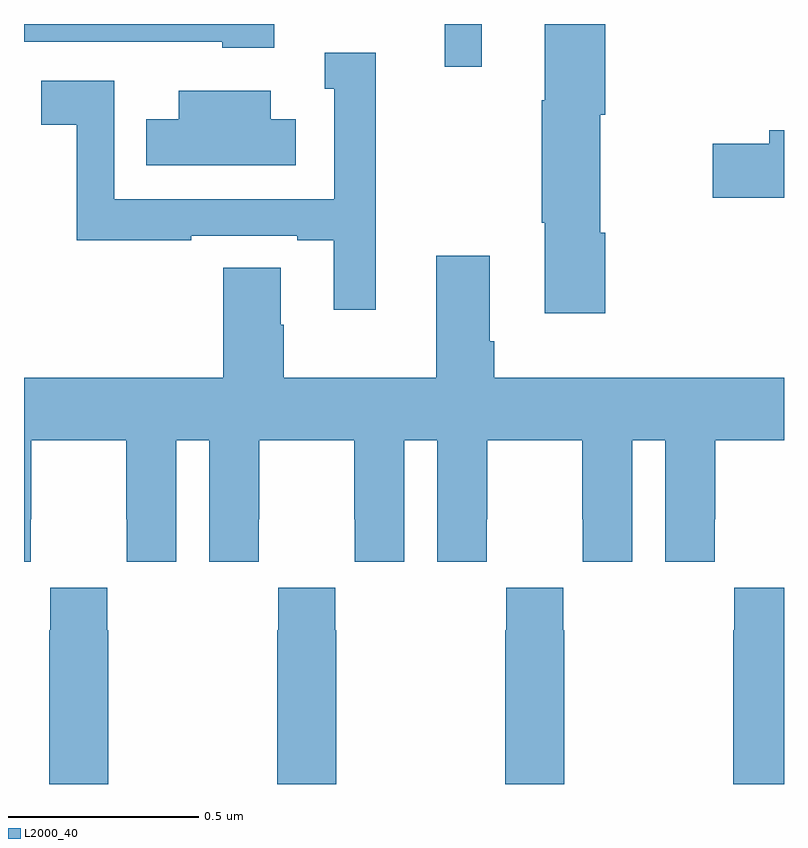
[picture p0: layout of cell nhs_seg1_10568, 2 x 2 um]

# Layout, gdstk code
import gdstk
lib = gdstk.Library(unit=1e-6, precision=1e-09)
def R(c, l, rs):  # rectangles x0, y0, x1, y1
    for r in rs: c.add(gdstk.rectangle(r[:2], r[2:], *l))
def P(c, l, *ps):  # polygons
    for p in ps: c.add(gdstk.Polygon(p, *l))
L2000_40 = (2000, 40)

nhs_seg1_10568 = lib.new_cell('nhs_seg1_10568')
R(nhs_seg1_10568, L2000_40, [(244.107,514.086,244.204,514.199)])
P(nhs_seg1_10568, L2000_40, [(243.658,514.199),(243,514.199),(243,514.152),(243.522,514.152),(243.522,514.136),(243.658,514.136)],
  [(244.529,513.65),(244.516,513.65),(244.516,513.96),(244.529,513.96),(244.529,514.199),(244.37,514.199),(244.37,513.998),(244.363,513.998),(244.363,513.676),(244.37,513.676),(244.37,513.438),(244.529,513.438)],
  [(243.925,514.123),(243.791,514.123),(243.791,514.029),(243.816,514.029),(243.816,513.738),(243.237,513.738),(243.237,514.05),(243.045,514.05),(243.045,513.934),(243.139,513.934),(243.139,513.63),(243.44,513.63),(243.44,513.642),(243.719,513.642),(243.719,513.63),(243.815,513.63),(243.815,513.447),(243.925,513.447)],
  [(243.715,513.949),(243.649,513.949),(243.649,514.024),(243.407,514.024),(243.407,513.949),(243.322,513.949),(243.322,513.827),(243.715,513.827)],
  [(245,513.92),(244.961,513.92),(244.961,513.884),(244.812,513.884),(244.812,513.742),(245,513.742)],
  [(243.018,512.896),(243.019,512.896),(243.019,513.104),(243.269,513.104),(243.269,512.896),(243.27,512.896),(243.27,512.784),(243.4,512.784),(243.4,513.104),(243.488,513.104),(243.488,512.784),(243.618,512.784),(243.618,512.896),(243.619,512.896),(243.619,513.104),(243.869,513.104),(243.869,512.896),(243.87,512.896),(243.87,512.784),(244,512.784),(244,513.104),(244.088,513.104),(244.088,512.784),(244.218,512.784),(244.218,512.896),(244.219,512.896),(244.219,513.104),(244.469,513.104),(244.469,512.896),(244.47,512.896),(244.47,512.784),(244.6,512.784),(244.6,513.104),(244.688,513.104),(244.688,512.784),(244.818,512.784),(244.818,512.896),(244.819,512.896),(244.819,513.104),(245,513.104),(245,513.268),(244.238,513.268),(244.238,513.364),(244.225,513.364),(244.225,513.589),(244.085,513.589),(244.085,513.268),(243.684,513.268),(243.684,513.407),(243.676,513.407),(243.676,513.557),(243.524,513.557),(243.524,513.268),(243,513.268),(243,512.784),(243.018,512.784)],
  [(245,512.716),(244.869,512.716),(244.869,512.603),(244.867,512.603),(244.867,512.199),(245,512.199)],
  [(244.422,512.603),(244.419,512.603),(244.419,512.716),(244.269,512.716),(244.269,512.603),(244.267,512.603),(244.267,512.199),(244.422,512.199)],
  [(243.822,512.603),(243.819,512.603),(243.819,512.716),(243.669,512.716),(243.669,512.603),(243.667,512.603),(243.667,512.199),(243.822,512.199)],
  [(243.222,512.603),(243.219,512.603),(243.219,512.716),(243.069,512.716),(243.069,512.603),(243.067,512.603),(243.067,512.199),(243.222,512.199)])

lib.write_gds('nhs_seg1_10568.gds')
